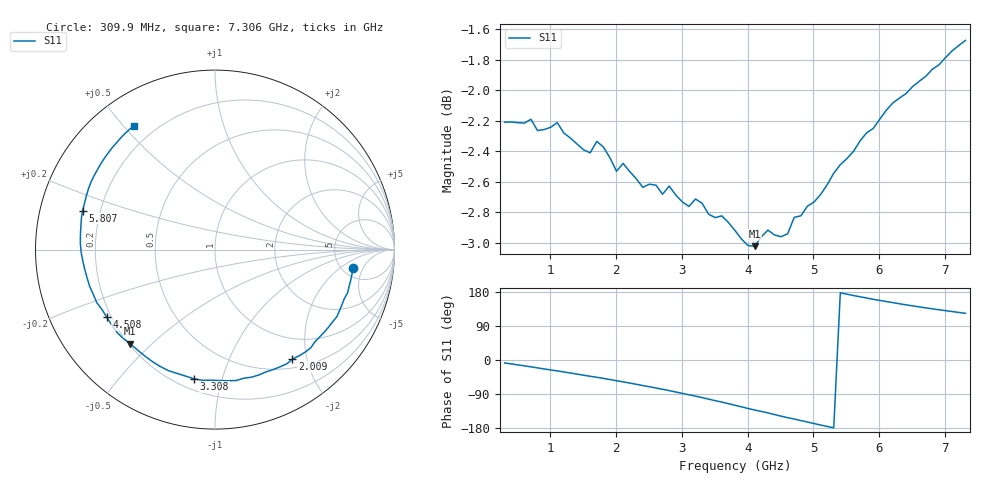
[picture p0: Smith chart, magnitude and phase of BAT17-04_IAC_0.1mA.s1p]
! Infineon Technologies  Discrete & RF Semiconductors
! BAT17-04
! IAC = 0.1 mA
! One-Port S-Parameters
# Hz  S  MA  R  50
!f  S11
!Hz  Mag  Ang
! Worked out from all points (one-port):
!   71 points, 309.9 MHz to 7.306 GHz, reference 50 ohm
!   lowest |S11| = -3.0 dB at 4.108 GHz (marker M1), VSWR 5.81, Z = 10.3 - j21.5 ohm
!   |S11| at or under -10 dB: nowhere
!   S11 on the Smith chart (normalised r, x): 309.9 MHz: 6.16, -3.24; 2.009 GHz: 0.64, -1.76; 3.308 GHz: 0.26, -0.82; 4.508 GHz: 0.18, -0.28; 5.807 GHz: 0.13, +0.14; 7.306 GHz: 0.12, +0.53
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3.0985e8  0.7754 -7.8
7.0965e8  0.7771 -18.1
1.10945e9  0.7751 -28.8
1.2094e9  0.7691 -31.5
1.70915e9  0.7642 -45.5
2.009e9  0.7472 -54.7
2.10895e9  0.7517 -57.7
2.6087e9  0.7394 -74.0
2.8086e9  0.7389 -80.8
3.0085e9  0.7301 -88.0
3.2084e9  0.7317 -95.3
3.30835e9  0.7294 -99.2
3.6082e9  0.7225 -111.1
3.8081e9  0.7146 -119.5
4.10795e9  0.7062 -132.0
4.30785e9  0.7148 -139.5
4.50775e9  0.7112 -148.2
4.70765e9  0.7217 -155.7
4.90755e9  0.7278 -163.7
5.2074e9  0.7397 -175.4
5.4073e9  0.7509 177.4
5.6072e9  0.7585 170.1
5.8071e9  0.7692 163.6
5.90705e9  0.7717 160.1
6.2069e9  0.7868 151.4
6.50675e9  0.7965 142.8
6.90655e9  0.8097 132.6
7.30635e9  0.8246 123.2
